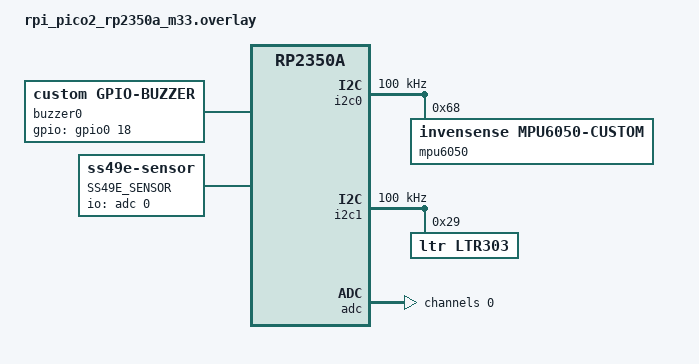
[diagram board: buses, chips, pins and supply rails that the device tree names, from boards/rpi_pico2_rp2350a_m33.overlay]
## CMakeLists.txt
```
cmake_minimum_required(VERSION 3.20.0)

# Select our board 
set(BOARD rpi_pico2/rp2350a/m33)
list(APPEND ZEPHYR_EXTRA_MODULES
    ${CMAKE_CURRENT_SOURCE_DIR}/drivers/sensor/ss49e
)

# Find/Select cmake package 'Zephyr' 
find_package(Zephyr REQUIRED HINTS $ENV{ZEPHYR_BASE})

# This is only used by IntelliSense inside VS Code 
set(CMAKE_EXPORT_COMPILE_COMMANDS ON)

# For using west flash with picoprobe
set(OPENOCD "openocd")
set(OPENOCD_DEFAULT_PATH "/usr/local/share/openocd/scripts")

# Define project name
project(upp_lock)

# Add source files
# FILE(GLOB SRC_FILES "src/*.c")
target_sources(app PRIVATE src/main.c)

add_subdirectory(drivers/sensor/mpu6050)
add_subdirectory(drivers/sensor/ltr303)
#add_subdirectory(drivers/sensor/rgb_led)
add_subdirectory(drivers/sensor/buzzer)
```

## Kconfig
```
source "Kconfig.zephyr"

rsource "drivers/sensor/mpu6050/Kconfig"
rsource "drivers/sensor/rgb_led/Kconfig"
rsource "drivers/sensor/buzzer/Kconfig"
rsource "drivers/sensor/ltr303/Kconfig"
```

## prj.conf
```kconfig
CONFIG_I2C=y
CONFIG_SENSOR=y
CONFIG_LOG=y
CONFIG_MPU6050_CUSTOM=y

CONFIG_GPIO=y
CONFIG_GPIO_BUZZER=y

CONFIG_LED_STRIP=y




CONFIG_ADC=y
CONFIG_SS49E=y
CONFIG_FPU=y
CONFIG_CBPRINTF_FP_SUPPORT=y
CONFIG_NEWLIB_LIBC=y
CONFIG_NEWLIB_LIBC_FLOAT_PRINTF=y
```

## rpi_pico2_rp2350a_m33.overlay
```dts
&i2c0 {
    status = "okay";
    clock-frequency = <I2C_BITRATE_STANDARD>;

    mpu6050@68 {
        reg = <0x68>;
        status = "okay";
    };
};

# for ss49e this sensor doesnt have the register
# it's a analog sensor we use ADC to convert the voltage to number
&adc {
    label = "ADC_0";
    status = "okay";
    #address-cells = <1>;
    #size-cells = <0>;
};
```

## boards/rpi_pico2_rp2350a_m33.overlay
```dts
#include <zephyr/dt-bindings/led/led.h>
#include <zephyr/dt-bindings/pinctrl/rpi-pico-rp2350a-pinctrl.h>

&i2c0 {
    status = "okay";
    clock-frequency = <I2C_BITRATE_STANDARD>;

    mpu6050: mpu6050@68 {
        compatible = "invensense,mpu6050-custom";
        reg = <0x68>;
        status = "okay";
        accel-range = <0>; /* 0=2g, 1=4g, 2=8g, 3=16g */
        gyro-range = <0>;  /* 0=250dps, 1=500dps, 2=1000dps, 3=2000dps */
    };
};

&i2c1 {
    status = "okay";
    clock-frequency = <I2C_BITRATE_STANDARD>;

    ltr303: ltr303@29 {
        compatible = "ltr,ltr303";
        reg = <0x29>;
        status = "okay";
    };
};

&pinctrl {
    ws2812_pio0_default: ws2812_pio0_default {
        group1 {
            pinmux = <PIO0_P28>;
        };
    };
};

&pio0 {
    status = "okay";

    pio_ws2812: pio-ws2812 {
        compatible = "worldsemi,ws2812-rpi_pico-pio";
        status = "okay";
        pinctrl-0 = <&ws2812_pio0_default>;
        pinctrl-names = "default";
        bit-waveform = <3>, <3>, <4>;

        rgb_led: ws2812 {
            status = "okay";
            gpios = <&gpio0 28 GPIO_ACTIVE_HIGH>;
            chain-length = <1>;
            color-mapping = <LED_COLOR_ID_GREEN LED_COLOR_ID_RED LED_COLOR_ID_BLUE>;
            frequency = <800000>;
            reset-delay = <280>;
        };
    };
};

&adc {
    label  = "ADC_0";
    status = "okay";
    #address-cells = <1>;
    #size-cells    = <0>;

    channel@0 {
        reg             = <0>;
        zephyr,gain     = "ADC_GAIN_1";
        zephyr,reference = "ADC_REF_INTERNAL";
        zephyr,acquisition-time = <ADC_ACQ_TIME_DEFAULT>;
        zephyr,resolution = <12>;
        zephyr,input-positive = <0>;
    };
};

/ {
    chosen {
        zephyr,led-strip = &rgb_led;
    };

    aliases {
        mpu6050 = &mpu6050;
        led-strip = &rgb_led;
        buzzer = &buzzer0;
    };

    buzzer0: buzzer_0 {
        compatible = "custom,gpio-buzzer";
        status = "okay";
        gpios = <&gpio0 18 GPIO_ACTIVE_HIGH>;
    };

        my_ss49e: ss49e_sensor {
        compatible = "zephyr,ss49e-sensor";
        status = "okay";
        io-channels = <&adc 0>;
        label = "SS49E_SENSOR";
    };
};
```

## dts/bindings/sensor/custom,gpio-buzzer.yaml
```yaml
description: Simple GPIO buzzer

compatible: "custom,gpio-buzzer"

include: [base.yaml]

properties:
  gpios:
    type: phandle-array
    required: true
    description: GPIO used to drive the buzzer.
```

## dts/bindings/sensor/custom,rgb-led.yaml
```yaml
description: Custom RGB LED driver (three GPIO pins)

compatible: "custom,rgb-led"

include: [base.yaml]

properties:
  red-gpios:
    type: phandle-array
    required: true
    description: GPIO spec for the Red channel.

  green-gpios:
    type: phandle-array
    required: true
    description: GPIO spec for the Green channel.

  blue-gpios:
    type: phandle-array
    required: true
    description: GPIO spec for the Blue channel (GPIO 28).
```

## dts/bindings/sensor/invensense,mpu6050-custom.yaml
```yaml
description: Custom MPU6050 6-axis IMU sensor

compatible: "invensense,mpu6050-custom"

include: [sensor-device.yaml, i2c-device.yaml]

properties:
  accel-range:
    type: int
    default: 0
    description: Accelerometer range setting. 0=2g, 1=4g, 2=8g, 3=16g.
    enum: [0, 1, 2, 3]

  gyro-range:
    type: int
    default: 0
    description: Gyroscope range setting. 0=250dps, 1=500dps, 2=1000dps, 3=2000dps.
    enum: [0, 1, 2, 3]
```

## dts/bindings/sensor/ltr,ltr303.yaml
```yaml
description: LTR303 ambient light sensor

compatible: "ltr,ltr303"

include: [sensor-device.yaml, i2c-device.yaml]
```

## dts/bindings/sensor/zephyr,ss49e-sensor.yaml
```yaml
description: SS49E Linear Hall Effect Sensor

compatible: "zephyr,ss49e-sensor"

include: sensor-device.yaml

properties:
  io-channels:
    required: true
    description: ADC channel used for reading the sensor output
```

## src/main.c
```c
#include <stdio.h>
#include <stdlib.h>

#include <zephyr/device.h>
#include <zephyr/devicetree.h>
#include <zephyr/drivers/sensor.h>
#include <zephyr/drivers/led_strip.h>
#include <zephyr/kernel.h>

#include "../drivers/sensor/buzzer/buzzer.h"

#define MPU6050_NODE DT_ALIAS(mpu6050)
#define LTR303_NODE DT_ALIAS(ltr303)
#define RGB_LED_NODE DT_ALIAS(led_strip)
#define BUZZER_NODE DT_ALIAS(buzzer)
#define SS49E_NODE  DT_NODELABEL(my_ss49e)

#if !DT_NODE_EXISTS(MPU6050_NODE)
#define MPU6050_NODE DT_NODELABEL(mpu6050)
#endif

#if !DT_NODE_EXISTS(LTR303_NODE)
#define LTR303_NODE DT_NODELABEL(ltr303)
#endif

static void print_sensor_value(const struct sensor_value *val)
{
    printk("%d.%06d", val->val1, abs(val->val2));
}

static int rgb_set(const struct device *rgb, uint8_t r, uint8_t g, uint8_t b)
{
    struct led_rgb pixel = {
        .r = r,
        .g = g,
        .b = b,
    };

    return led_strip_update_rgb(rgb, &pixel, 1);
}

int main(void)
{
    const struct device *imu = DEVICE_DT_GET(MPU6050_NODE);
    const struct device *ltr = DEVICE_DT_GET_ANY(liteon_ltr303);
    const struct device *rgb = DEVICE_DT_GET(RGB_LED_NODE);
    const struct device *buzzer = DEVICE_DT_GET(BUZZER_NODE);
    const struct device *ss49e   = DEVICE_DT_GET(SS49E_NODE);

    struct sensor_value accel[3];
    struct sensor_value gyro[3];
    struct sensor_value temp;
    struct sensor_value gauss_val;
    struct sensor_value lux;
    int ret;

    printk("MPU6050 Zephyr Sensor API demo starting...\n");

    if (!device_is_ready(imu))
    {
        printk("MPU6050 device is not ready\n");
        return 0;
    }

    if (!device_is_ready(ltr)) {
        return 0;
    }

    bool rgb_ready = device_is_ready(rgb);
    if (!rgb_ready)
    {
        printk("RGB LED strip device is not ready\n");
    }

    if (!device_is_ready(buzzer))
    {
        printk("Buzzer device is not ready\n");
        return 0;
    }

    /* Startup indication: green flash + short beep */
    if (rgb_ready)
    {
        rgb_set(rgb, 0, 255, 0);
    }

    buzzer_beep(buzzer, 2000, 150);
    k_sleep(K_MSEC(150));
    if (rgb_ready)
    {
        rgb_set(rgb, 0, 255, 255);
    }

    while (1)
    {
        ret = sensor_sample_fetch(imu);
        if (ret != 0)
        {
            printk("sensor_sample_fetch failed: %d\n", ret);

            /* Error indication: red flash + beep */
            rgb_set(rgb, 255, 0, 0);
            buzzer_beep(buzzer, 2000, 50);
            k_sleep(K_MSEC(100));
            rgb_set(rgb, 0, 0, 0);

            k_sleep(K_SECONDS(1));
            continue;
        }

        sensor_channel_get(imu, SENSOR_CHAN_ACCEL_XYZ, accel);
        sensor_channel_get(imu, SENSOR_CHAN_GYRO_XYZ, gyro);
        sensor_channel_get(imu, SENSOR_CHAN_DIE_TEMP, &temp);

        printk("ACC [m/s^2] x=");
        print_sensor_value(&accel[0]);
        printk(" y=");
        print_sensor_value(&accel[1]);
        printk(" z=");
        print_sensor_value(&accel[2]);
        printk("\n");

        printk("GYRO [rad/s] x=");
        print_sensor_value(&gyro[0]);
        printk(" y=");
        print_sensor_value(&gyro[1]);
        printk(" z=");
        print_sensor_value(&gyro[2]);
        printk("\n");

        printk("TEMP [C] ");
        print_sensor_value(&temp);
        printk("\n\n");



        /* SS49E */
        ret = sensor_sample_fetch(ss49e);
        if (ret == 0) {
            ret = sensor_channel_get(ss49e, SENSOR_CHAN_MAGN_XYZ, &gauss_val);
            if (ret == 0) {
                printk("MAGN [Gauss] %d.%06d\n",
                       gauss_val.val1, abs(gauss_val.val2));
            }
        } else {
            printk("SS49E fetch failed: %d\n", ret);
        }

        printk("\n");

        /* LTR */
        sensor_sample_fetch(ltr);
        sensor_channel_get(ltr, SENSOR_CHAN_LIGHT, &lux);
        printk("lux: %d\n", lux.val1);

        /* Normal indication: dim blue blink */
        rgb_set(rgb, 0, 0, 40);
        k_sleep(K_MSEC(100));
        rgb_set(rgb, 0, 0, 0);

        k_sleep(K_SECONDS(1));
    }
}
```
